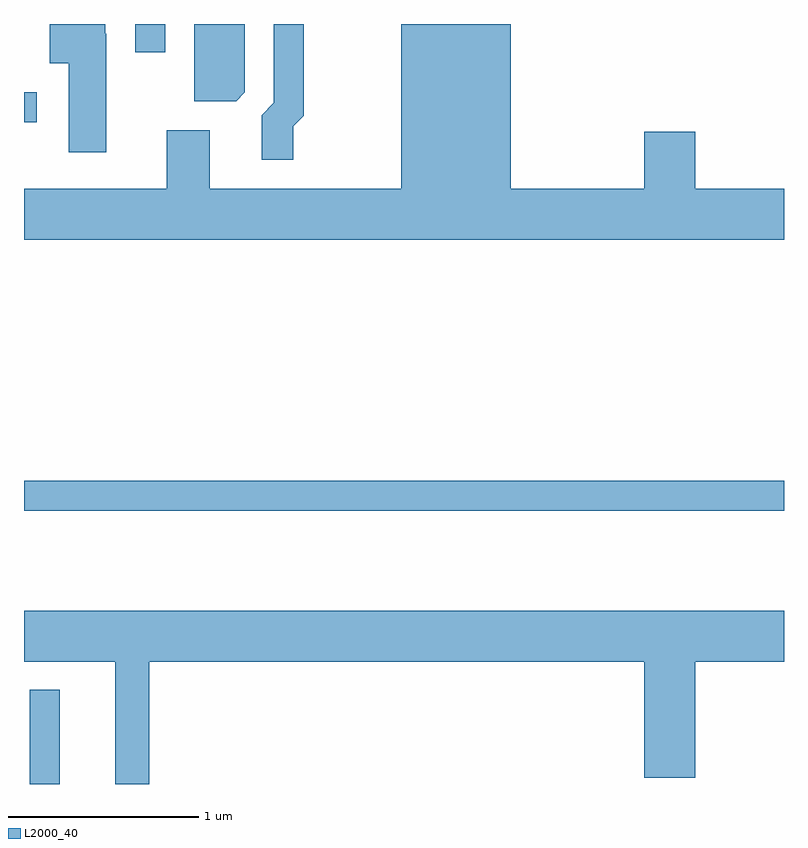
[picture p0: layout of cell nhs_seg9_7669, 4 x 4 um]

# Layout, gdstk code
import gdstk
lib = gdstk.Library(unit=1e-6, precision=1e-09)
def R(c, l, rs):  # rectangles x0, y0, x1, y1
    for r in rs: c.add(gdstk.rectangle(r[:2], r[2:], *l))
def P(c, l, *ps):  # polygons
    for p in ps: c.add(gdstk.Polygon(p, *l))
L2000_40 = (2000, 40)

nhs_seg9_7669 = lib.new_cell('nhs_seg9_7669')
R(nhs_seg9_7669, L2000_40, [(411.641,2064.432,411.799,2064.928), (411.611,2065.871,415.611,2066.029), (411.611,2067.916,411.678,2068.074), (412.196,2068.283,412.354,2068.432)])
P(nhs_seg9_7669, L2000_40, [(415.611,2067.564),(415.144,2067.564),(415.144,2067.864),(414.876,2067.864),(414.876,2067.564),(414.174,2067.564),(414.174,2068.432),(413.596,2068.432),(413.596,2067.564),(412.589,2067.564),(412.589,2067.874),(412.361,2067.874),(412.361,2067.564),(411.611,2067.564),(411.611,2067.296),(415.611,2067.296)],
  [(412.774,2068.072),(412.774,2068.432),(412.506,2068.432),(412.506,2068.026),(412.729,2068.026)],
  [(412.044,2068.38),(412.039,2068.38),(412.039,2068.432),(411.746,2068.432),(411.746,2068.226),(411.846,2068.226),(411.846,2067.756),(412.044,2067.756)],
  [(413.029,2067.894),(413.084,2067.949),(413.084,2068.432),(412.926,2068.432),(412.926,2068.017),(412.861,2067.952),(412.861,2067.718),(413.029,2067.718)],
  [(412.269,2065.076),(414.876,2065.076),(414.876,2064.466),(415.144,2064.466),(415.144,2065.076),(415.611,2065.076),(415.611,2065.344),(411.611,2065.344),(411.611,2065.076),(412.091,2065.076),(412.091,2064.432),(412.269,2064.432)])

lib.write_gds('nhs_seg9_7669.gds')
